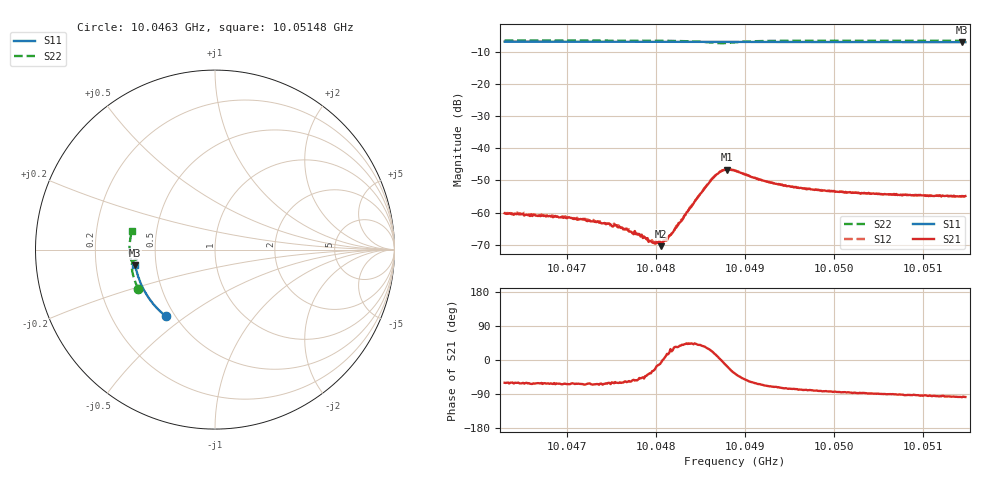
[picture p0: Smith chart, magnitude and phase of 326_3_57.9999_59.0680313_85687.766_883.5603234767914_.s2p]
#  HZ  S  RI  R  50.00
! Rohde & Schwarz Vector Network Analyzer
! Rohde-Schwarz,ZNB20-2Port,1311601062101988,3.16
! Created: UTC 3/21/2024, 1:04:55 AM
! freq[Hz]  re:S11  im:S11  re:S21  im:S21  re:S12  im:S12  re:S22  im:S22
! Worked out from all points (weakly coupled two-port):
!   401 points, 10.0463 GHz to 10.05148 GHz, reference 50 ohm
!   highest |S21| = -46.63 dB at 10.0488 GHz (marker M1); lowest = -70.5 dB at 10.04806 GHz (marker M2)
!   lowest |S11| = -6.9 dB at 10.05144 GHz (marker M3), VSWR 2.65, Z = 19 - j4.13 ohm
!   |S11| at or under -10 dB: nowhere
!   |S22| runs from -7.2 to -6.4 dB; largest |S21 - S12| = 0.00034
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1.0046298e10  -0.2749 -0.3706  0.000485 -0.000845  0.000558 -0.000814  -0.4277 -0.2188
1.0046958e10  -0.3077 -0.3417  0.00037 -0.000738  0.000464 -0.00073  -0.445 -0.1781
1.0047165e10  -0.3175 -0.3322  0.000352 -0.000698  0.000395 -0.000669  -0.4497 -0.1647
1.0047554e10  -0.3349 -0.3134  0.000315 -0.000544  0.000341 -0.000529  -0.4572 -0.1387
1.0047722e10  -0.3421 -0.3049  0.000276 -0.000416  0.000336 -0.000389  -0.4599 -0.1271
1.0047787e10  -0.3449 -0.3018  0.00027 -0.00037  0.000315 -0.000346  -0.4608 -0.1224
1.0047942e10  -0.3512 -0.2936  0.000292 -0.000205  0.000319 -0.00019  -0.4626 -0.1108
1.0047994e10  -0.3533 -0.291  0.000303 -0.000122  0.000336 -0.000133  -0.4631 -0.1068
1.0048033e10  -0.3549 -0.2889  0.000352 -7.66e-05  0.000339 -4.09e-05  -0.4633 -0.1037
1.0048059e10  -0.3559 -0.2875  0.000297 -3.07e-05  0.000344 5.86e-07  -0.4636 -0.1017
1.0048084e10  -0.3569 -0.2861  0.000365 1.34e-05  0.000353 5.37e-05  -0.4637 -0.0995
1.0048188e10  -0.361 -0.2807  0.000438 0.000216  0.000426 0.000278  -0.4638 -0.0911
1.0048408e10  -0.3695 -0.2689  0.000953 0.000895  0.000913 0.000959  -0.4601 -0.0711
1.0048641e10  -0.3776 -0.2559  0.00326 0.00121  0.00318 0.00139  -0.4396 -0.0567
1.0048719e10  -0.3802 -0.2518  0.0043 0.000193  0.00431 0.000471  -0.4315 -0.0625
1.0048796e10  -0.3829 -0.2475  0.00446 -0.00134  0.00456 -0.00108  -0.4325 -0.0728
1.0048887e10  -0.386 -0.2427  0.00363 -0.00264  0.0038 -0.00243  -0.443 -0.0782
1.004925e10  -0.3978 -0.2218  0.00112 -0.00281  0.00129 -0.00274  -0.4691 -0.0527
1.0049754e10  -0.4123 -0.1921  0.000389 -0.00225  0.000527 -0.00225  -0.4756 -0.0135
1.0050622e10  -0.4318 -0.1385  -1.12e-05 -0.00191  9.63e-05 -0.00192  -0.4737 0.0468
1.0051437e10  -0.4439 -0.0864  -0.000258 -0.00177  -0.000159 -0.0018  -0.4651 0.1005
1.0051476e10  -0.4444 -0.0841  -0.00024 -0.00179  -0.000138 -0.00176  -0.4646 0.1029
